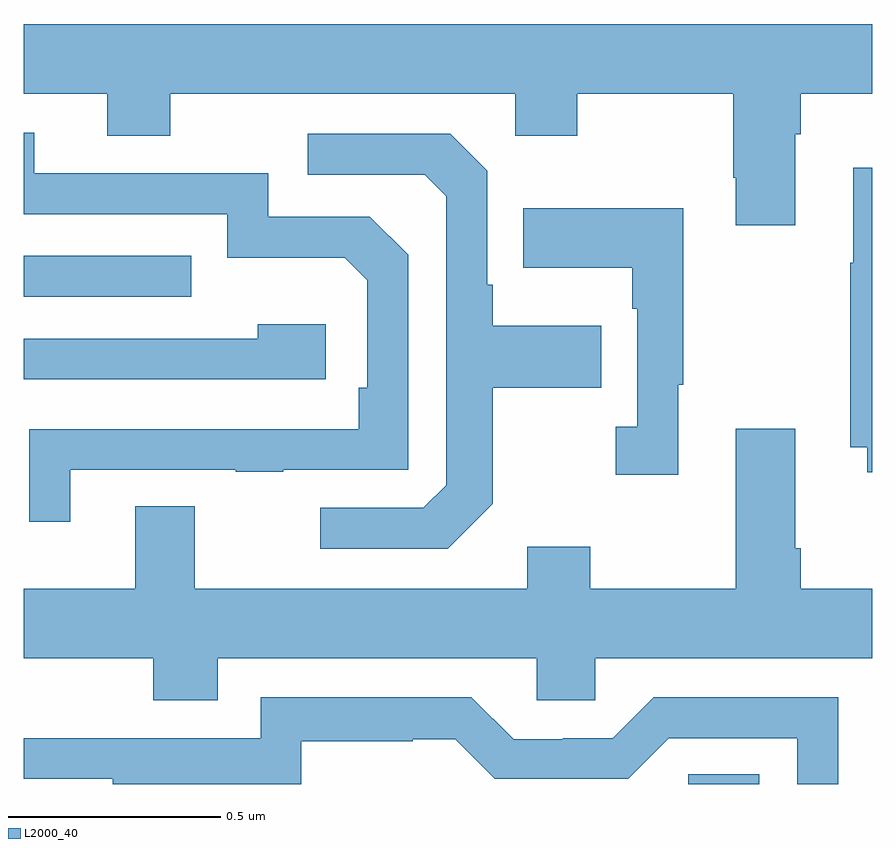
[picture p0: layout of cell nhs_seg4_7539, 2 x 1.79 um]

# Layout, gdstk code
import gdstk
lib = gdstk.Library(unit=1e-6, precision=1e-09)
def R(c, l, rs):  # rectangles x0, y0, x1, y1
    for r in rs: c.add(gdstk.rectangle(r[:2], r[2:], *l))
def P(c, l, *ps):  # polygons
    for p in ps: c.add(gdstk.Polygon(p, *l))
L2000_40 = (2000, 40)

nhs_seg4_7539 = lib.new_cell('nhs_seg4_7539')
R(nhs_seg4_7539, L2000_40, [(205.566,753.9,205.734,753.923), (204,755.049,204.395,755.145)])
P(nhs_seg4_7539, L2000_40, [(205.819,755.432),(205.832,755.432),(205.832,755.528),(206,755.528),(206,755.692),(204,755.692),(204,755.528),(204.197,755.528),(204.197,755.429),(204.345,755.429),(204.345,755.528),(205.158,755.528),(205.158,755.429),(205.305,755.429),(205.305,755.528),(205.672,755.528),(205.672,755.329),(205.679,755.329),(205.679,755.217),(205.819,755.217)],
  [(204.109,754.641),(204.499,754.641),(204.499,754.636),(204.611,754.636),(204.611,754.641),(204.906,754.641),(204.906,755.148),(204.816,755.238),(204.576,755.238),(204.576,755.34),(204.025,755.34),(204.025,755.436),(204,755.436),(204,755.244),(204.48,755.244),(204.48,755.141),(204.757,755.141),(204.81,755.088),(204.81,754.834),(204.79,754.834),(204.79,754.737),(204.115,754.737),(204.115,754.736),(204.013,754.736),(204.013,754.518),(204.109,754.518)],
  [(205.105,754.561),(205.105,754.834),(205.361,754.834),(205.361,754.981),(205.105,754.981),(205.105,755.077),(205.092,755.077),(205.092,755.346),(205.005,755.433),(204.669,755.433),(204.669,755.337),(204.945,755.337),(204.996,755.286),(204.996,754.605),(204.942,754.551),(204.699,754.551),(204.699,754.455),(204.999,754.455)],
  [(206,755.353),(205.955,755.353),(205.955,755.129),(205.948,755.129),(205.948,754.694),(205.988,754.694),(205.988,754.635),(206,754.635)],
  [(205.543,754.841),(205.555,754.841),(205.555,755.257),(205.177,755.257),(205.177,755.117),(205.434,755.117),(205.434,755.021),(205.446,755.021),(205.446,754.742),(205.395,754.742),(205.395,754.629),(205.543,754.629)],
  [(204.712,754.984),(204.551,754.984),(204.551,754.95),(204,754.95),(204,754.854),(204.712,754.854)],
  [(204.457,754.196),(205.209,754.196),(205.209,754.098),(205.347,754.098),(205.347,754.196),(206,754.196),(206,754.36),(205.832,754.36),(205.832,754.456),(205.819,754.456),(205.819,754.738),(205.679,754.738),(205.679,754.36),(205.335,754.36),(205.335,754.459),(205.187,754.459),(205.187,754.36),(204.403,754.36),(204.403,754.555),(204.263,754.555),(204.263,754.36),(204,754.36),(204,754.196),(204.305,754.196),(204.305,754.097),(204.457,754.097)],
  [(204.21,753.912),(204.21,753.9),(204.654,753.9),(204.654,754.001),(204.917,754.001),(204.917,754.005),(205.017,754.005),(205.11,753.912),(205.425,753.912),(205.521,754.008),(205.824,754.008),(205.824,753.9),(205.92,753.9),(205.92,754.104),(205.485,754.104),(205.389,754.008),(205.271,754.008),(205.271,754.005),(205.155,754.005),(205.055,754.105),(204.558,754.105),(204.558,754.008),(204,754.008),(204,753.912)])

lib.write_gds('nhs_seg4_7539.gds')
